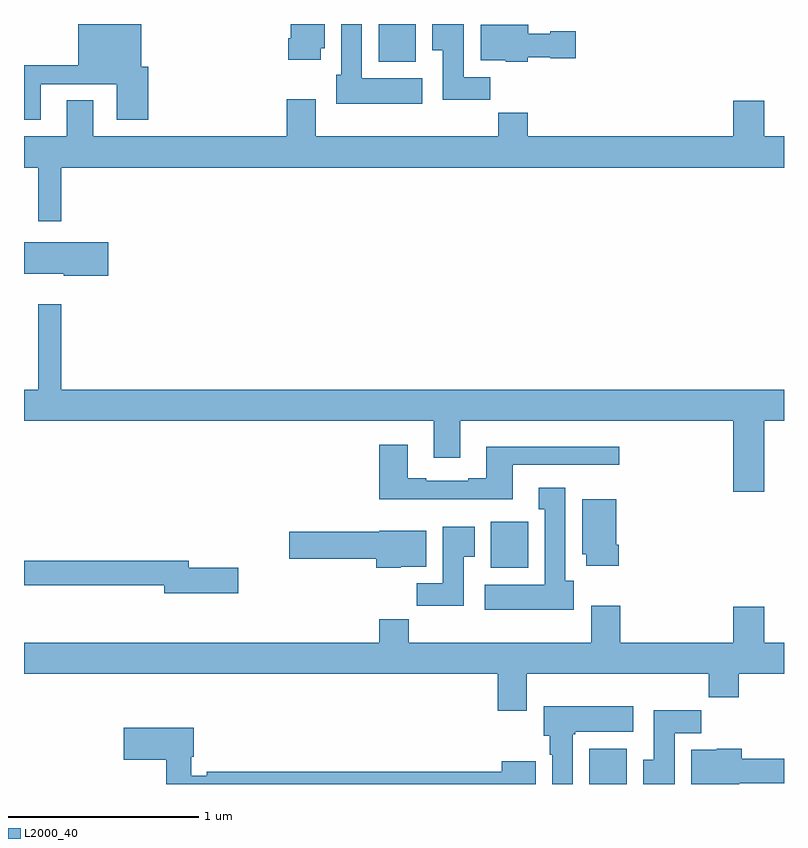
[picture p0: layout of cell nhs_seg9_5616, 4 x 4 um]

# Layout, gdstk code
import gdstk
lib = gdstk.Library(unit=1e-6, precision=1e-09)
def R(c, l, rs):  # rectangles x0, y0, x1, y1
    for r in rs: c.add(gdstk.rectangle(r[:2], r[2:], *l))
def P(c, l, *ps):  # polygons
    for p in ps: c.add(gdstk.Polygon(p, *l))
L2000_40 = (2000, 40)

nhs_seg9_5616 = lib.new_cell('nhs_seg9_5616')
R(nhs_seg9_5616, L2000_40, [(439.976,1202.5,440.173,1202.686), (439.457,1203.638,439.654,1203.88), (438.866,1206.302,439.063,1206.5)])
P(nhs_seg9_5616, L2000_40, [(437.089,1206.183),(437.489,1206.183),(437.489,1205.997),(437.654,1205.997),(437.654,1206.276),(437.617,1206.276),(437.617,1206.5),(437.285,1206.5),(437.285,1206.284),(437,1206.284),(437,1205.997),(437.089,1205.997)],
  [(439.454,1206.22),(439.315,1206.22),(439.315,1206.5),(439.148,1206.5),(439.148,1206.361),(439.205,1206.361),(439.205,1206.102),(439.454,1206.102)],
  [(438.562,1206.372),(438.583,1206.372),(438.583,1206.5),(438.404,1206.5),(438.404,1206.424),(438.392,1206.424),(438.392,1206.312),(438.562,1206.312)],
  [(439.096,1206.214),(438.778,1206.214),(438.778,1206.5),(438.671,1206.5),(438.671,1206.234),(438.644,1206.234),(438.644,1206.08),(439.096,1206.08)],
  [(439.65,1206.326),(439.77,1206.326),(439.77,1206.319),(439.903,1206.319),(439.903,1206.461),(439.77,1206.461),(439.77,1206.448),(439.654,1206.448),(439.654,1206.496),(439.403,1206.496),(439.403,1206.308),(439.536,1206.308),(439.536,1206.302),(439.65,1206.302)],
  [(437.197,1205.744),(441,1205.744),(441,1205.908),(440.896,1205.908),(440.896,1206.097),(440.732,1206.097),(440.732,1205.908),(439.652,1205.908),(439.652,1206.032),(439.495,1206.032),(439.495,1205.908),(438.535,1205.908),(438.535,1206.103),(438.383,1206.103),(438.383,1205.908),(437.365,1205.908),(437.365,1206.098),(437.225,1206.098),(437.225,1205.908),(437,1205.908),(437,1205.744),(437.075,1205.744),(437.075,1205.463),(437.197,1205.463)],
  [(437.443,1205.352),(437,1205.352),(437,1205.186),(437.208,1205.186),(437.208,1205.174),(437.443,1205.174)],
  [(440.896,1204.412),(441,1204.412),(441,1204.576),(437.197,1204.576),(437.197,1205.026),(437.075,1205.026),(437.075,1204.576),(437,1204.576),(437,1204.412),(439.157,1204.412),(439.157,1204.218),(439.297,1204.218),(439.297,1204.412),(440.732,1204.412),(440.732,1204.038),(440.896,1204.038)],
  [(439.573,1204.179),(440.134,1204.179),(440.134,1204.276),(439.433,1204.276),(439.433,1204.108),(439.337,1204.108),(439.337,1204.095),(439.117,1204.095),(439.117,1204.108),(439.021,1204.108),(439.021,1204.285),(438.869,1204.285),(438.869,1203.998),(439.573,1203.998)],
  [(439.894,1203.57),(439.849,1203.57),(439.849,1204.06),(439.709,1204.06),(439.709,1203.947),(439.742,1203.947),(439.742,1203.55),(439.425,1203.55),(439.425,1203.416),(439.894,1203.416)],
  [(440.129,1203.76),(440.116,1203.76),(440.116,1204),(439.937,1204),(439.937,1203.708),(439.958,1203.708),(439.958,1203.648),(440.129,1203.648)],
  [(439.315,1203.697),(439.372,1203.697),(439.372,1203.853),(439.205,1203.853),(439.205,1203.556),(439.066,1203.556),(439.066,1203.438),(439.315,1203.438)],
  [(438.984,1203.644),(439.117,1203.644),(439.117,1203.832),(438.87,1203.832),(438.87,1203.827),(438.396,1203.827),(438.396,1203.685),(438.854,1203.685),(438.854,1203.638),(438.984,1203.638)],
  [(438.127,1203.638),(437.866,1203.638),(437.866,1203.674),(437,1203.674),(437,1203.546),(437.738,1203.546),(437.738,1203.503),(438.127,1203.503)],
  [(439.645,1203.08),(440.605,1203.08),(440.605,1202.956),(440.762,1202.956),(440.762,1203.08),(441,1203.08),(441,1203.244),(440.896,1203.244),(440.896,1203.433),(440.732,1203.433),(440.732,1203.244),(440.138,1203.244),(440.138,1203.439),(439.985,1203.439),(439.985,1203.244),(439.025,1203.244),(439.025,1203.368),(438.869,1203.368),(438.869,1203.244),(437,1203.244),(437,1203.08),(439.493,1203.08),(439.493,1202.886),(439.645,1202.886)],
  [(439.888,1202.761),(439.902,1202.761),(439.902,1202.774),(440.206,1202.774),(440.206,1202.908),(439.736,1202.908),(439.736,1202.754),(439.766,1202.754),(439.766,1202.654),(439.781,1202.654),(439.781,1202.5),(439.888,1202.5)],
  [(440.425,1202.768),(440.564,1202.768),(440.564,1202.887),(440.315,1202.887),(440.315,1202.628),(440.258,1202.628),(440.258,1202.5),(440.425,1202.5)],
  [(439.693,1202.62),(439.514,1202.62),(439.514,1202.564),(437.962,1202.564),(437.962,1202.544),(437.881,1202.544),(437.881,1202.643),(437.893,1202.643),(437.893,1202.797),(437.526,1202.797),(437.526,1202.627),(437.749,1202.627),(437.749,1202.5),(439.693,1202.5)],
  [(440.764,1202.503),(441,1202.503),(441,1202.632),(440.777,1202.632),(440.777,1202.686),(440.646,1202.686),(440.646,1202.68),(440.513,1202.68),(440.513,1202.5),(440.764,1202.5)])

lib.write_gds('nhs_seg9_5616.gds')
